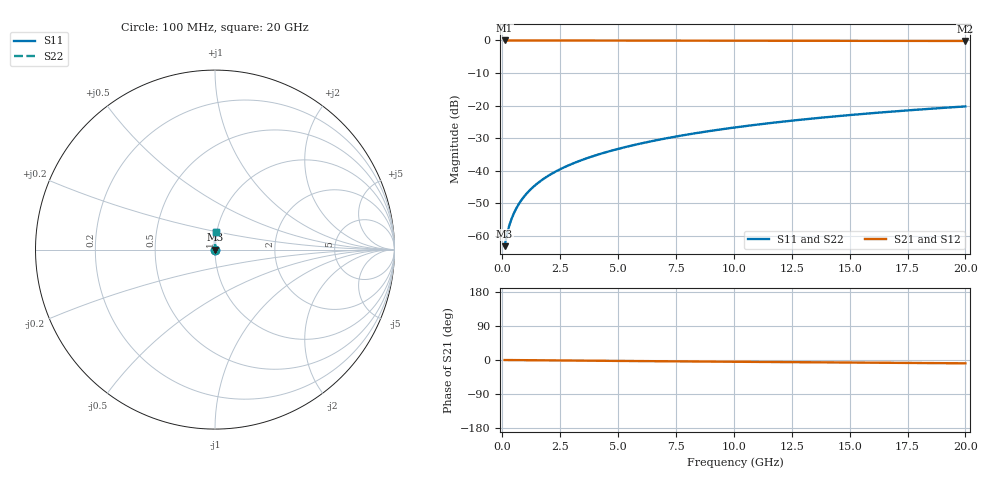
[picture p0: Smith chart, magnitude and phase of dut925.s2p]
! Touchstone file exported from HFSS 2024.1.0
!  File:  C:/UserFiles/LocalFiles/RDL_TSV_Batchsim/temp_RDL_top_925_1779936801.aedt
!  Generated:  10:55:59 AM May 28, 2026
!  Design:  RDL_top
!  Project:  temp_RDL_top_925_1779936801
!  Setup:  Setup1
!  Solution:  Sweep
! Variables:
!  dtsv = 10.80580581um
!  hbump = 3um
!  htsv = 74.61um
!  ldown = 100um
!  lrdl = 101.69um
!  p = 40
!  p1 = 47.45um
!  rhole = 1um
!  t = 450um
!  tdown = 3.915915916um
!  trdl = 4.5um
!  wdown = 15.38538539um
!  wrdl = 23.57um
# GHz S MA R 50.000000
! Terminal data exported
! Port[1] = Box2_T1
! Port[2] = Box2_T2
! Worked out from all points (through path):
!   200 points, 100 MHz to 20 GHz, reference 50 ohm
!   highest |S21| = 0.00 dB at 100 MHz (marker M1); lowest = -0.2 dB at 20 GHz (marker M2)
!   group delay of S21, straight-line fit = 1.2 ps
!   lowest |S11| = -63.2 dB at 100 MHz (marker M3), VSWR 1.00, Z = 50.1 + j0.046 ohm
!   |S11| at or under -10 dB: start of sweep to end of sweep
!   |S22| runs from -63.2 to -20.3 dB; largest |S21 - S12| = 2e-15
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0.1  0.0006931 41.5  0.9995 -0.1  0.9995 -0.1  0.0006931 41.5
! Gamma 0 0 0 0
! Port Impedance 50 0 50 0
0.2  0.00105 58.5  0.9994 -0.1  0.9994 -0.1  0.00105 58.5
0.3  0.001433 66.5  0.9994 -0.2  0.9994 -0.2  0.001433 66.5
0.4  0.001823 71.3  0.9994 -0.2  0.9994 -0.2  0.001823 71.3
0.5  0.002217 74.5  0.9993 -0.3  0.9993 -0.3  0.002217 74.5
0.6  0.002617 76.9  0.9993 -0.3  0.9993 -0.3  0.002617 76.9
0.8  0.003425 80.1  0.9993 -0.4  0.9993 -0.4  0.003425 80.1
1.1  0.004654 83.0  0.9992 -0.6  0.9992 -0.6  0.004654 83.0
1.5  0.006313 85.3  0.999 -0.8  0.999 -0.8  0.006313 85.3
1.8  0.007568 86.4  0.9988 -0.9  0.9988 -0.9  0.007568 86.4
2.1  0.008833 87.3  0.9987 -1.1  0.9987 -1.1  0.008833 87.3
2.7  0.01139 88.5  0.9983 -1.3  0.9983 -1.3  0.01139 88.5
3.5  0.01486 89.6  0.9976 -1.7  0.9976 -1.7  0.01486 89.6
4.2  0.01797 90.3  0.9969 -2.1  0.9969 -2.1  0.01797 90.3
5  0.0216 90.8  0.9961 -2.4  0.9961 -2.4  0.0216 90.8
5.9  0.02578 91.2  0.9952 -2.9  0.9952 -2.9  0.02578 91.2
6.8  0.03006 91.3  0.9942 -3.3  0.9942 -3.3  0.03006 91.3
8.4  0.03787 91.3  0.9925 -4.0  0.9925 -4.0  0.03787 91.3
10.1  0.04639 90.8  0.9908 -4.7  0.9908 -4.7  0.04639 90.8
13.4  0.06324 89.4  0.9877 -6.1  0.9877 -6.1  0.06323 89.4
16.7  0.08018 87.6  0.9848 -7.4  0.9848 -7.4  0.08018 87.6
20  0.09705 85.8  0.9821 -8.8  0.9821 -8.8  0.09704 85.8
